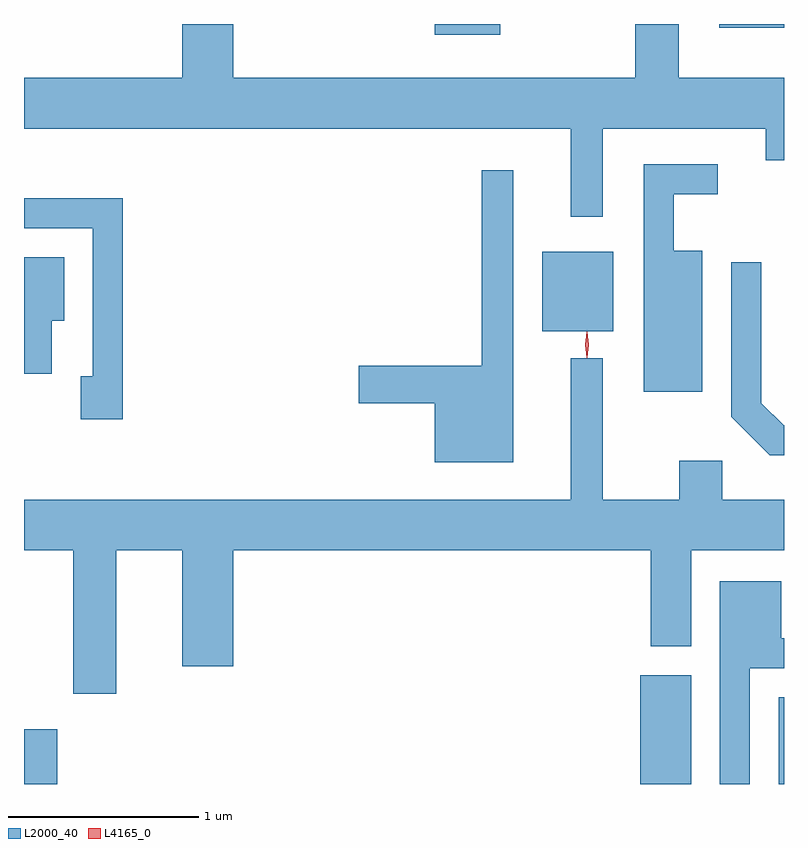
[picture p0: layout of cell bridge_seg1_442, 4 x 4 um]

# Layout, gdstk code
import gdstk
lib = gdstk.Library(unit=1e-6, precision=1e-09)
def R(c, l, rs):  # rectangles x0, y0, x1, y1
    for r in rs: c.add(gdstk.rectangle(r[:2], r[2:], *l))
def P(c, l, *ps):  # polygons
    for p in ps: c.add(gdstk.Polygon(p, *l))
L2000_40 = (2000, 40)
L4165_0 = (4165, 0)

bridge_seg1_442 = lib.new_cell('bridge_seg1_442')
R(bridge_seg1_442, L2000_40, [(214.243,873.927,214.419,874.214), (217.486,873.927,217.754,874.499), (218.216,873.927,218.243,874.384), (216.971,876.311,217.344,876.729), (216.406,877.871,216.749,877.927), (217.903,877.906,218.243,877.927)])
P(bridge_seg1_442, L2000_40, [(217.289,877.376),(218.146,877.376),(218.146,877.211),(218.243,877.211),(218.243,877.644),(217.689,877.644),(217.689,877.927),(217.461,877.927),(217.461,877.644),(215.344,877.644),(215.344,877.927),(215.076,877.927),(215.076,877.644),(214.243,877.644),(214.243,877.376),(217.121,877.376),(217.121,876.913),(217.289,876.913)],
  [(217.814,876.734),(217.664,876.734),(217.664,877.031),(217.893,877.031),(217.893,877.189),(217.506,877.189),(217.506,875.991),(217.814,875.991)],
  [(216.819,877.158),(216.651,877.158),(216.651,876.129),(216.006,876.129),(216.006,875.931),(216.406,875.931),(216.406,875.621),(216.819,875.621)],
  [(214.764,877.009),(214.243,877.009),(214.243,876.851),(214.606,876.851),(214.606,876.074),(214.541,876.074),(214.541,875.846),(214.764,875.846)],
  [(214.389,876.366),(214.454,876.366),(214.454,876.699),(214.243,876.699),(214.243,876.086),(214.389,876.086)],
  [(218.243,875.814),(218.242,875.814),(218.124,875.932),(218.124,876.673),(217.966,876.673),(217.966,875.859),(218.169,875.656),(218.243,875.656)],
  [(214.729,875.156),(215.076,875.156),(215.076,874.546),(215.344,874.546),(215.344,875.156),(217.541,875.156),(217.541,874.651),(217.754,874.651),(217.754,875.156),(218.243,875.156),(218.243,875.424),(217.919,875.424),(217.919,875.629),(217.691,875.629),(217.691,875.424),(217.289,875.424),(217.289,876.168),(217.121,876.168),(217.121,875.424),(214.243,875.424),(214.243,875.156),(214.501,875.156),(214.501,874.401),(214.729,874.401)],
  [(218.064,874.536),(218.243,874.536),(218.243,874.694),(218.229,874.694),(218.229,874.994),(217.906,874.994),(217.906,873.927),(218.064,873.927)])
P(bridge_seg1_442, L4165_0, [(217.206,876.173),(217.206,876.173),(217.196,876.237),(217.206,876.301),(217.206,876.302),(217.207,876.301),(217.216,876.237),(217.207,876.173)],
  [(217.206,876.169),(217.206,876.17),(217.196,876.238),(217.206,876.306),(217.206,876.306),(217.207,876.306),(217.216,876.238),(217.207,876.17)])

lib.write_gds('bridge_seg1_442.gds')
